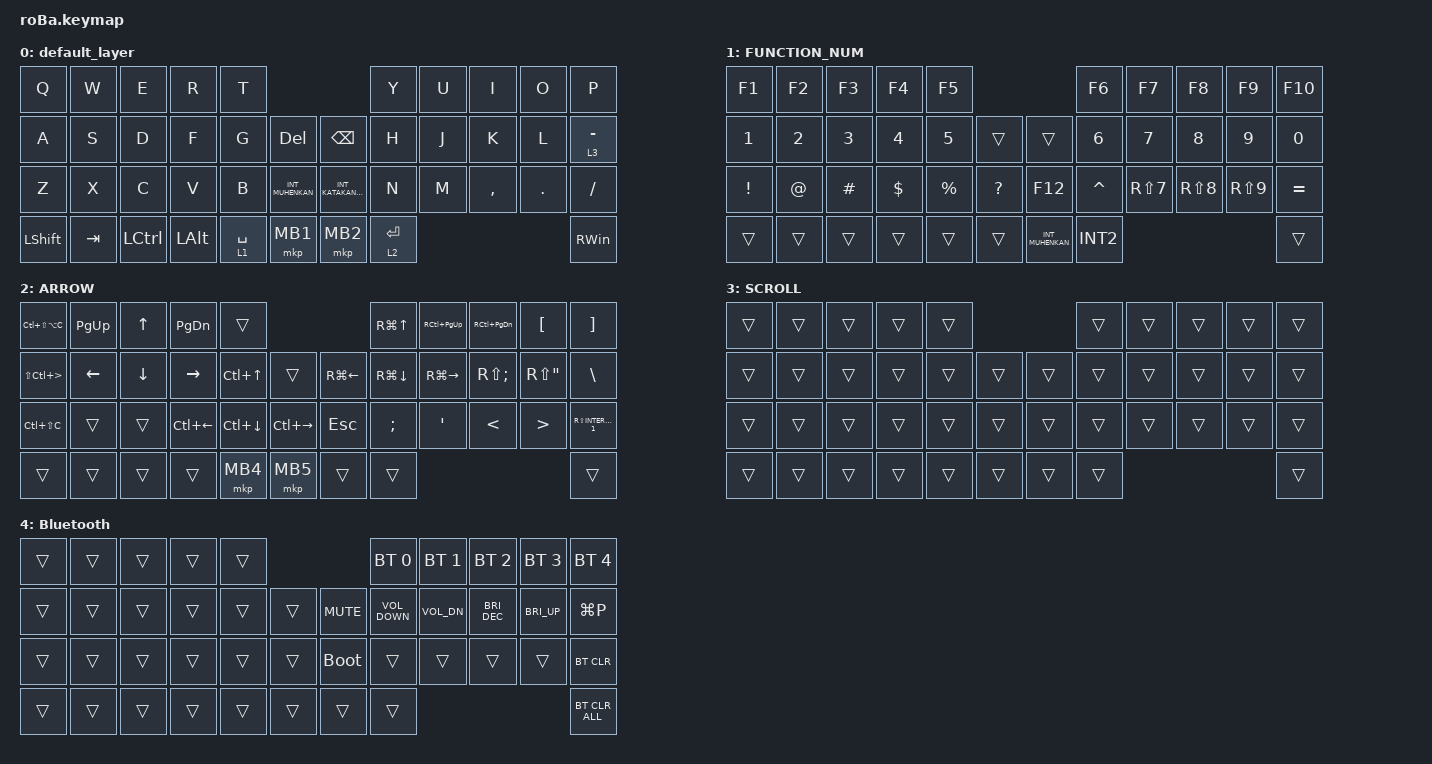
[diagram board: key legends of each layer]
#include <behaviors.dtsi>
#include <dt-bindings/zmk/bt.h>
#include <dt-bindings/zmk/keys.h>
#include <dt-bindings/zmk/pointing.h>

&mt {
    flavor = "balanced";
    quick-tap-ms = <0>;
};

&trackball {
    scroll-layers = <3>;

    // arrows {
    //     layers = <3>;
    //     bindings =
    //         <&kp RIGHT_ARROW>,
    //         <&kp LEFT_ARROW>,
    //         <&kp UP_ARROW>,
    //         <&kp DOWN_ARROW>;
    //     tick = <10>;
    //     wait-ms = <5>;
    //     tap-ms = <5>;
    // };
};

/ {
    combos {
        compatible = "zmk,combos";

        screen_change {
            bindings = <&kp LS(LG(LEFT))>;
            key-positions = <39 40>;
        };

        screenshot {
            bindings = <&kp LG(LS(S))>;
            key-positions = <15 16>;
        };
    };

    macros {
        to_layer_0: to_layer_0 {
            compatible = "zmk,behavior-macro-one-param";
            #binding-cells = <1>;
            bindings = <&to 0 &macro_param_1to1 &kp MACRO_PLACEHOLDER>;
            label = "TO_LAYER_0";
        };
    };

    behaviors {
        lt_to_layer_0: lt_to_layer_0 {
            compatible = "zmk,behavior-hold-tap";
            label = "LAYER_TAP_TO_0";
            bindings = <&mo>, <&to_layer_0>;

            #binding-cells = <2>;
            tapping-term-ms = <200>;
        };
    };

    keymap {
        compatible = "zmk,keymap";

        default_layer {
            bindings = <
&kp Q           &kp W    &kp E      &kp R         &kp T                                                        &kp Y        &kp U  &kp I      &kp O    &kp P
&kp A           &kp S    &kp D      &kp F         &kp G        &kp DELETE            &kp BACKSPACE             &kp H        &kp J  &kp K      &kp L    &lt 3 MINUS
&kp Z           &kp X    &kp C      &kp V         &kp B        &kp INT_MUHENKAN      &kp INT_KATAKANAHIRAGANA  &kp N        &kp M  &kp COMMA  &kp DOT  &kp SLASH
&kp LEFT_SHIFT  &kp TAB  &kp LCTRL  &kp LEFT_ALT  &lt 1 SPACE  &mkp MB1              &mkp MB2                  &lt 2 ENTER                             &kp RIGHT_WIN
            >;
        };

        FUNCTION_NUM {
            bindings = <
&kp F1        &kp F2        &kp F3        &kp F4        &kp F5                                           &kp F6        &kp F7      &kp F8      &kp F9      &kp F10
&kp NUMBER_1  &kp NUMBER_2  &kp NUMBER_3  &kp NUMBER_4  &kp N5       &trans            &trans            &kp NUMBER_6  &kp N7      &kp N8      &kp N9      &kp N0
&kp EXCL      &kp AT        &kp HASH      &kp DOLLAR    &kp PERCENT  &kp QUESTION      &kp F12           &kp CARET     &kp RS(N7)  &kp RS(N8)  &kp RS(N9)  &kp EQUAL
&trans        &trans        &trans        &trans        &trans       &trans            &kp INT_MUHENKAN  &kp INT2                                          &trans
            >;
        };

        ARROW {
            bindings = <
&kp LC(LS(LA(C)))         &kp PG_UP       &kp UP_ARROW    &kp PAGE_DOWN    &trans                                             &kp RG(UP_ARROW)  &kp RC(PAGE_UP)  &kp RC(PAGE_DOWN)  &kp LBKT               &kp RBKT
&kp LS(LC(GREATER_THAN))  &kp LEFT_ARROW  &kp DOWN_ARROW  &kp RIGHT_ARROW  &kp LC(UP_ARROW)  &trans             &kp RG(LEFT)  &kp RG(DOWN)      &kp RG(RIGHT)    &kp RS(SEMI)       &kp RS(DOUBLE_QUOTES)  &kp BSLH
&kp LC(LS(C))             &trans          &trans          &kp LC(LEFT)     &kp LC(DOWN)      &kp LC(RIGHT)      &kp ESCAPE    &kp SEMI          &kp APOS         &kp LESS_THAN      &kp GREATER_THAN       &kp RS(INTERNATIONAL_1)
&trans                    &trans          &trans          &trans           &mkp MB4          &mkp MB5           &trans        &trans                                                                       &trans
            >;
        };

        SCROLL {
            bindings = <
&trans  &trans  &trans  &trans  &trans                      &trans  &trans  &trans  &trans  &trans
&trans  &trans  &trans  &trans  &trans  &trans      &trans  &trans  &trans  &trans  &trans  &trans
&trans  &trans  &trans  &trans  &trans  &trans      &trans  &trans  &trans  &trans  &trans  &trans
&trans  &trans  &trans  &trans  &trans  &trans      &trans  &trans                          &trans
            >;
        };

        Bluetooth {
            bindings = <
&trans  &trans  &trans  &trans  &trans                           &bt BT_SEL 0       &bt BT_SEL 1  &bt BT_SEL 2   &bt BT_SEL 3  &bt BT_SEL 4
&trans  &trans  &trans  &trans  &trans  &trans      &kp K_MUTE   &kp C_VOLUME_DOWN  &kp C_VOL_DN  &kp C_BRI_DEC  &kp C_BRI_UP  &kp LG(P)
&trans  &trans  &trans  &trans  &trans  &trans      &bootloader  &trans             &trans        &trans         &trans        &bt BT_CLR
&trans  &trans  &trans  &trans  &trans  &trans      &trans       &trans                                                        &bt BT_CLR_ALL
            >;
        };
    };

    conditional_layers {
        compatible = "zmk,conditional-layers";

        bluetooth_switch {
            if-layers = <1 2>;
            then-layer = <4>;
        };
    };
};
